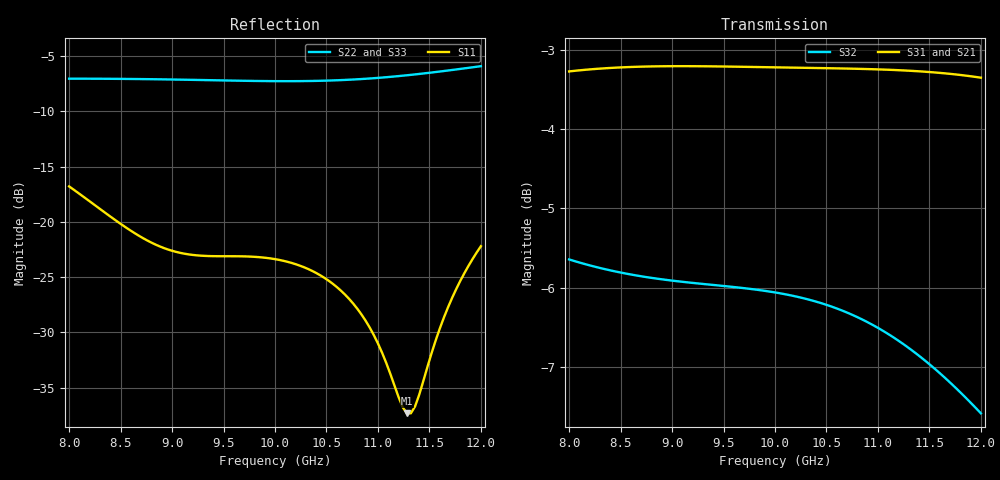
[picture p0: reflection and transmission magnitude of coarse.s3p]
! yapnr rf: divider-x10, binary design on the optimization grid
! spec sha256 ebfea4ffd0e4fa7859ad9e810227fbb437c0960cb2a10d4053162c36b793aa05
! renormalized to 50 ohm, e^(+jwt) convention
# GHz S RI R 50
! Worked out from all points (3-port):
!   101 points, 8 GHz to 12 GHz, reference 50 ohm
!   strongest paths, dB at 8 GHz, 9 GHz, 10 GHz, 11 GHz, 12 GHz:
!     S31: -3.3, -3.2, -3.2, -3.2, -3.3
!     S21: -3.3, -3.2, -3.2, -3.2, -3.3
!     S32: -5.6, -5.9, -6.1, -6.5, -7.6
!   lowest |S11| = -37.3 dB at 11.28 GHz (marker M1), VSWR 1.03, Z = 51.1 + j0.888 ohm
!   |S11| at or under -10 dB: start of sweep to end of sweep
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8  -0.0107 0.1444  -0.6559 0.2154  -0.6559 0.2154
   -0.6524 0.2135  -0.4358 0.0872  0.5216 0.0236
   -0.6524 0.2135  0.5216 0.0236  -0.4358 0.0872
8.96  -0.0311 0.0683  -0.4937 0.491  -0.4937 0.491
      -0.4902 0.488  -0.3179 0.3055  0.3827 -0.3319
      -0.4902 0.488  0.3827 -0.3319  -0.3179 0.3055
10  -0.0453 0.0505  -0.1951 0.6685  -0.1951 0.6685
    -0.1921 0.6633  -0.00447 0.4332  -0.00406 -0.4976
    -0.1921 0.6633  -0.00406 -0.4976  -0.00447 0.4332
10.44  -0.0331 0.0468  -0.0477 0.6948  -0.0477 0.6948
       -0.0455 0.6883  0.1649 0.4023  -0.1865 -0.4532
       -0.0455 0.6883  -0.1865 -0.4532  0.1649 0.4023
10.76  -0.018 0.0387  0.0626 0.6936  0.0626 0.6936
       0.0639 0.6862  0.2819 0.3386  -0.3004 -0.3761
       0.0639 0.6862  -0.3004 -0.3761  0.2819 0.3386
11  -0.00482 0.0278  0.1453 0.6809  0.1453 0.6809
    0.1457 0.6729  0.3581 0.2694  -0.3669 -0.2978
    0.1457 0.6729  -0.3669 -0.2978  0.3581 0.2694
11.28  0.0105 0.00869  0.2401 0.6528  0.2401 0.6528
       0.2391 0.6443  0.4281 0.1696  -0.4182 -0.1915
       0.2391 0.6443  -0.4182 -0.1915  0.4281 0.1696
11.36  0.0145 0.0019  0.2665 0.6422  0.2665 0.6422
       0.2651 0.6336  0.4436 0.1383  -0.4271 -0.1594
       0.2651 0.6336  -0.4271 -0.1594  0.4436 0.1383
11.72  0.0279 -0.0357  0.3798 0.5798  0.3798 0.5798
       0.3761 0.5711  0.4864 -0.0121  -0.435 -0.0142
       0.3761 0.5711  -0.435 -0.0142  0.4864 -0.0121
12  0.0301 -0.0716  0.4588 0.5155  0.4588 0.5155
    0.4532 0.5072  0.4887 -0.132  -0.4074 0.0903
    0.4532 0.5072  -0.4074 0.0903  0.4887 -0.132
